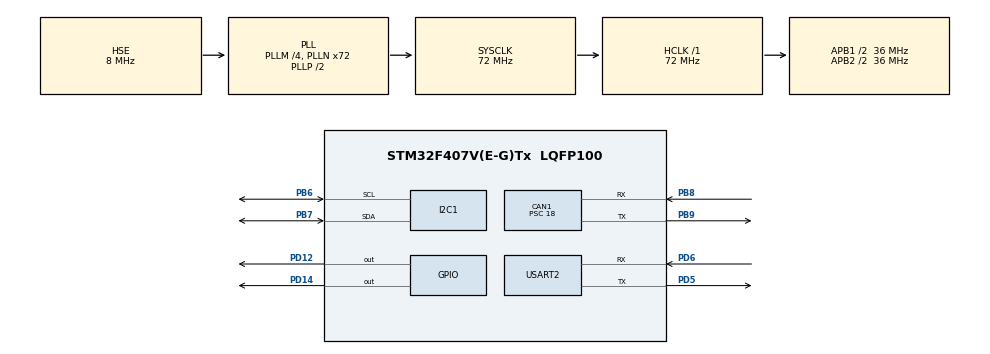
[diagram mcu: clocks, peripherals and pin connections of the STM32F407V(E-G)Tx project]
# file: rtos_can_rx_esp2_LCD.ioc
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CAN1.BS1=CAN_BS1_2TQ
CAN1.CalculateBaudRate=500000
CAN1.CalculateTimeBit=2000
CAN1.CalculateTimeQuantum=500.0
CAN1.Prescaler=18
FREERTOS.INCLUDE_vTaskDelayUntil=1
FREERTOS.Tasks01=defaultTask,-3,128,StartDefaultTask,Default,NULL,Dynamic,NULL,NULL
FREERTOS.configUSE_NEWLIB_REENTRANT=1
Mcu.Family=STM32F4
Mcu.Name=STM32F407V(E-G)Tx
Mcu.Package=LQFP100
NVIC.CAN1_RX0_IRQn=true\:5\:0\:false\:false\:true\:true\:true\:true\:true
NVIC.PriorityGroup=NVIC_PRIORITYGROUP_4
NVIC.TIM6_DAC_IRQn=true\:15\:0\:false\:false\:true\:false\:false\:true\:true
NVIC.TimeBase=TIM6_DAC_IRQn
NVIC.TimeBaseIP=TIM6
PB6.Mode=I2C
PB6.Signal=I2C1_SCL
PB7.Mode=I2C
PB7.Signal=I2C1_SDA
PB8.Mode=CAN_Activate
PB8.Signal=CAN1_RX
PB9.Mode=CAN_Activate
PB9.Signal=CAN1_TX
PD12.Signal=GPIO_Output
PD14.Signal=GPIO_Output
PD5.Mode=Asynchronous
PD5.Signal=USART2_TX
PD6.Mode=Asynchronous
PD6.Signal=USART2_RX
PH0-OSC_IN.Mode=HSE-External-Oscillator
PH0-OSC_IN.Signal=RCC_OSC_IN
PH1-OSC_OUT.Mode=HSE-External-Oscillator
PH1-OSC_OUT.Signal=RCC_OSC_OUT
ProjectManager.HeapSize=0x200
ProjectManager.StackSize=0x400
ProjectManager.TargetToolchain=STM32CubeIDE
RCC.48MHZClocksFreq_Value=20571428.57142857
RCC.AHBFreq_Value=72000000
RCC.APB1CLKDivider=RCC_HCLK_DIV2
RCC.APB1Freq_Value=36000000
RCC.APB1TimFreq_Value=72000000
RCC.APB2CLKDivider=RCC_HCLK_DIV2
RCC.APB2Freq_Value=36000000
RCC.APB2TimFreq_Value=72000000
RCC.CortexFreq_Value=72000000
RCC.HCLKFreq_Value=72000000
RCC.HSE_VALUE=8000000
RCC.HSI_VALUE=16000000
RCC.LSE_VALUE=32768
RCC.PLLM=4
RCC.PLLN=72
RCC.PLLQ=7
RCC.PLLSourceVirtual=RCC_PLLSOURCE_HSE
RCC.SYSCLKFreq_VALUE=72000000
RCC.SYSCLKSource=RCC_SYSCLKSOURCE_PLLCLK
RCC.VCOOutputFreq_Value=144000000
USART2.VirtualMode=VM_ASYNC
VP_FREERTOS_VS_CMSIS_V1.Mode=CMSIS_V1
VP_SYS_VS_tim6.Mode=TIM6
board=STM32F407G-DISC1

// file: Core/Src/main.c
/* USER CODE BEGIN Header */
/**
  ******************************************************************************
  * @file           : main.c
  * @brief          : Main program body
  ******************************************************************************
  * @attention
  *
  * Copyright (c) 2025 STMicroelectronics.
  * All rights reserved.
  *
  * This software is licensed under terms that can be found in the LICENSE file
  * in the root directory of this software component.
  * If no LICENSE file comes with this software, it is provided AS-IS.
  *
  ******************************************************************************
  */
/* USER CODE END Header */
#include "main.h"
#include "cmsis_os.h"

/* USER CODE BEGIN Includes */
#include "string.h"
#include "stdio.h"
#include "lcd.h"
#include <stdbool.h>
/* USER CODE END Includes */

CAN_HandleTypeDef hcan1;

I2C_HandleTypeDef hi2c1;

UART_HandleTypeDef huart2;

osThreadId defaultTaskHandle;
/* USER CODE BEGIN PV */

osThreadId CANRxTaskHandle;
osThreadId LCDTaskHandle1;
CAN_RxHeaderTypeDef RxHeader;
uint8_t RxData[8];
volatile uint8_t dataReady = 0;
volatile uint8_t dataReady_1 = 0 ;

uint16_t LDR_Value = 0;
uint16_t MQ5_Value = 0;
uint8_t Temp_Value = 0;
uint8_t Hum_Value = 0;

/* USER CODE END PV */

void SystemClock_Config(void);
static void MX_GPIO_Init(void);
static void MX_CAN1_Init(void);
static void MX_USART2_UART_Init(void);
static void MX_I2C1_Init(void);
void StartDefaultTask(void const * argument);

/* USER CODE BEGIN PFP */

void canRxTask(void const * argument);
void canRxTask1(void const * argument);

/* USER CODE END PFP */

/* USER CODE BEGIN 0 */
void HAL_CAN_RxFifo0MsgPendingCallback(CAN_HandleTypeDef *hcan)
{
  // Get received message
  if (HAL_CAN_GetRxMessage(hcan, CAN_RX_FIFO0, &RxHeader, RxData) == HAL_OK)
  {
    if (RxHeader.StdId == 0x0A9 && RxHeader.DLC >= 4)
    {
      // Extract 16-bit sensor values from data bytes
      LDR_Value  = (RxData[0] << 8) | RxData[1];
      MQ5_Value  = (RxData[2] << 8) | RxData[3];
      Temp_Value = (RxData[4] << 8) | RxData[5];
      Hum_Value  = (RxData[6] << 8) | RxData[7];
      dataReady  = 1;
    }
  }
}

/* USER CODE END 0 */

int main(void)
{

  /* MCU Configuration--------------------------------------------------------*/

  /* Reset of all peripherals, Initializes the Flash interface and the Systick. */
  HAL_Init();

  /* Configure the system clock */
  SystemClock_Config();

  /* Initialize all configured peripherals */
  MX_GPIO_Init();
  MX_CAN1_Init();
  MX_USART2_UART_Init();
  MX_I2C1_Init();
  /* USER CODE BEGIN 2 */

  HAL_CAN_Start(&hcan1);
  HAL_CAN_ActivateNotification(&hcan1, CAN_IT_RX_FIFO0_MSG_PENDING );
  LcdInit();

  /* USER CODE END 2 */

  /* Create the thread(s) */
  /* definition and creation of defaultTask */
  osThreadDef(defaultTask, StartDefaultTask, osPriorityIdle, 0, 128);
  defaultTaskHandle = osThreadCreate(osThread(defaultTask), NULL);

  /* USER CODE BEGIN RTOS_THREADS */
  /* add threads, ... */

  osThreadDef(CANRxTask, canRxTask, osPriorityIdle, 0, 128);
  CANRxTaskHandle = osThreadCreate(osThread(CANRxTask), NULL);

  osThreadDef(CANRxTask1, canRxTask1, osPriorityIdle, 0, 128);
  LCDTaskHandle1 = osThreadCreate(osThread(CANRxTask1), NULL);

  /* USER CODE END RTOS_THREADS */

  /* Start scheduler */
  osKernelStart();

  /* We should never get here as control is now taken by the scheduler */

  /* Infinite loop */
  while (1)
  {

  }
}

void SystemClock_Config(void)
{
  RCC_OscInitTypeDef RCC_OscInitStruct = {0};
  RCC_ClkInitTypeDef RCC_ClkInitStruct = {0};

  /** Configure the main internal regulator output voltage
  */
  __HAL_RCC_PWR_CLK_ENABLE();
  __HAL_PWR_VOLTAGESCALING_CONFIG(PWR_REGULATOR_VOLTAGE_SCALE1);

  /** Initializes the RCC Oscillators according to the specified parameters
  * in the RCC_OscInitTypeDef structure.
  */
  RCC_OscInitStruct.OscillatorType = RCC_OSCILLATORTYPE_HSE;
  RCC_OscInitStruct.HSEState = RCC_HSE_ON;
  RCC_OscInitStruct.PLL.PLLState = RCC_PLL_ON;
  RCC_OscInitStruct.PLL.PLLSource = RCC_PLLSOURCE_HSE;
  RCC_OscInitStruct.PLL.PLLM = 4;
  RCC_OscInitStruct.PLL.PLLN = 72;
  RCC_OscInitStruct.PLL.PLLP = RCC_PLLP_DIV2;
  RCC_OscInitStruct.PLL.PLLQ = 7;
  if (HAL_RCC_OscConfig(&RCC_OscInitStruct) != HAL_OK)
  {
    Error_Handler();
  }

  /** Initializes the CPU, AHB and APB buses clocks
  */
  RCC_ClkInitStruct.ClockType = RCC_CLOCKTYPE_HCLK|RCC_CLOCKTYPE_SYSCLK
                              |RCC_CLOCKTYPE_PCLK1|RCC_CLOCKTYPE_PCLK2;
  RCC_ClkInitStruct.SYSCLKSource = RCC_SYSCLKSOURCE_PLLCLK;
  RCC_ClkInitStruct.AHBCLKDivider = RCC_SYSCLK_DIV1;
  RCC_ClkInitStruct.APB1CLKDivider = RCC_HCLK_DIV2;
  RCC_ClkInitStruct.APB2CLKDivider = RCC_HCLK_DIV2;

  if (HAL_RCC_ClockConfig(&RCC_ClkInitStruct, FLASH_LATENCY_2) != HAL_OK)
  {
    Error_Handler();
  }
}

static void MX_CAN1_Init(void)
{

  hcan1.Instance = CAN1;
  hcan1.Init.Prescaler = 18;
  hcan1.Init.Mode = CAN_MODE_NORMAL;
  hcan1.Init.SyncJumpWidth = CAN_SJW_1TQ;
  hcan1.Init.TimeSeg1 = CAN_BS1_2TQ;
  hcan1.Init.TimeSeg2 = CAN_BS2_1TQ;
  hcan1.Init.TimeTriggeredMode = DISABLE;
  hcan1.Init.AutoBusOff = DISABLE;
  hcan1.Init.AutoWakeUp = DISABLE;
  hcan1.Init.AutoRetransmission = DISABLE;
  hcan1.Init.ReceiveFifoLocked = DISABLE;
  hcan1.Init.TransmitFifoPriority = DISABLE;
  if (HAL_CAN_Init(&hcan1) != HAL_OK)
  {
    Error_Handler();
  }
  /* USER CODE BEGIN CAN1_Init 2 */
  CAN_FilterTypeDef canFilterConfig;

    canFilterConfig.FilterActivation = ENABLE;
    canFilterConfig.FilterBank = 0;
    canFilterConfig.FilterFIFOAssignment = CAN_FILTER_FIFO0;
    canFilterConfig.FilterIdHigh = 0x0A9 << 5;  // Standard ID in top bits
    canFilterConfig.FilterIdLow = 0;
    canFilterConfig.FilterMaskIdHigh = 0x7FF << 5;  // Match only 0x0A9
    canFilterConfig.FilterMaskIdLow = 0;
    canFilterConfig.FilterMode = CAN_FILTERMODE_IDMASK;
    canFilterConfig.FilterScale = CAN_FILTERSCALE_32BIT;

    if (HAL_CAN_ConfigFilter(&hcan1, &canFilterConfig) != HAL_OK)
    {
      Error_Handler();
    }
  /* USER CODE END CAN1_Init 2 */

}

static void MX_I2C1_Init(void)
{

  hi2c1.Instance = I2C1;
  hi2c1.Init.ClockSpeed = 100000;
  hi2c1.Init.DutyCycle = I2C_DUTYCYCLE_2;
  hi2c1.Init.OwnAddress1 = 0;
  hi2c1.Init.AddressingMode = I2C_ADDRESSINGMODE_7BIT;
  hi2c1.Init.DualAddressMode = I2C_DUALADDRESS_DISABLE;
  hi2c1.Init.OwnAddress2 = 0;
  hi2c1.Init.GeneralCallMode = I2C_GENERALCALL_DISABLE;
  hi2c1.Init.NoStretchMode = I2C_NOSTRETCH_DISABLE;
  if (HAL_I2C_Init(&hi2c1) != HAL_OK)
  {
    Error_Handler();
  }

}

static void MX_USART2_UART_Init(void)
{

  huart2.Instance = USART2;
  huart2.Init.BaudRate = 115200;
  huart2.Init.WordLength = UART_WORDLENGTH_8B;
  huart2.Init.StopBits = UART_STOPBITS_1;
  huart2.Init.Parity = UART_PARITY_NONE;
  huart2.Init.Mode = UART_MODE_TX_RX;
  huart2.Init.HwFlowCtl = UART_HWCONTROL_NONE;
  huart2.Init.OverSampling = UART_OVERSAMPLING_16;
  if (HAL_UART_Init(&huart2) != HAL_OK)
  {
    Error_Handler();
  }

}

static void MX_GPIO_Init(void)
{
  GPIO_InitTypeDef GPIO_InitStruct = {0};

  /* GPIO Ports Clock Enable */
  __HAL_RCC_GPIOH_CLK_ENABLE();
  __HAL_RCC_GPIOD_CLK_ENABLE();
  __HAL_RCC_GPIOB_CLK_ENABLE();

  /*Configure GPIO pin Output Level */
  HAL_GPIO_WritePin(GPIOD, GPIO_PIN_12|GPIO_PIN_14, GPIO_PIN_RESET);

  /*Configure GPIO pins : PD12 PD14 */
  GPIO_InitStruct.Pin = GPIO_PIN_12|GPIO_PIN_14;
  GPIO_InitStruct.Mode = GPIO_MODE_OUTPUT_PP;
  GPIO_InitStruct.Pull = GPIO_NOPULL;
  GPIO_InitStruct.Speed = GPIO_SPEED_FREQ_LOW;
  HAL_GPIO_Init(GPIOD, &GPIO_InitStruct);

}

/* USER CODE BEGIN 4 */
void canRxTask(void const * argument)
{
  char uartMsg[150];
  for (;;)
  {
    if (dataReady)
    {
    	 sprintf(uartMsg,"{\"LDR_DATA\":%u,\"MQ5_DATA\":%u,\"TEMPERATURE\":%u,\"HUMIDITY\":%u,\"LOCATION\":\"Lab1\"}\n",LDR_Value, MQ5_Value, Temp_Value, Hum_Value);
    	 HAL_UART_Transmit(&huart2, (uint8_t*)uartMsg, strlen(uartMsg), HAL_MAX_DELAY);
    	 HAL_GPIO_TogglePin(GPIOD, GPIO_PIN_14);

      dataReady = 0;
      dataReady_1 = 1;
    }
    osDelay(10000);
  }
}
void canRxTask1(void const * argument)
{
    char line1[20];  // For Temperature & Humidity
    char line2[20];  // For Status/Alert

    for (;;)
    {
        HAL_GPIO_WritePin(GPIOD, GPIO_PIN_14, GPIO_PIN_RESET);
        if (dataReady_1)
        {
            sprintf(line1, "T:%uC H:%u%%", Temp_Value, Hum_Value);

            // Check LDR and MQ5 values
            bool darkness = (LDR_Value > 2000);
            bool gas      = (MQ5_Value > 1500);

            // Prepare Line 2 based on sensor readings
            if (darkness && gas)
                strcpy(line2, "ALERT: DARK+GAS");
            else if (!darkness && !gas)
                strcpy(line2, "Status: NORMAL ");
            else if (darkness && !gas)
                strcpy(line2, "ALERT: DARK    ");
            else if (!darkness && gas){
                strcpy(line2, "ALERT: GAS     ");
                HAL_GPIO_WritePin(GPIOD, GPIO_PIN_14, GPIO_PIN_SET);
            }

            // Clear LCD and update lines
            LcdWriteByte(LCD_CMD, LCD_CLEAR);
            HAL_Delay(2);  // Small delay after clear

            // Write to LCD
            LcdPuts(LCD_LINE1, line1);  // Display Temp & Hum
            LcdPuts(LCD_LINE2, line2);  // Display Alert/Status

            dataReady_1 = 0;  // Reset flag
        }

        osDelay(1000);  // Task runs every 1 second
    }
}

/* USER CODE END 4 */

void StartDefaultTask(void const * argument)
{
  for(;;)
  {
    osDelay(1);
  }
}

void HAL_TIM_PeriodElapsedCallback(TIM_HandleTypeDef *htim)
{
  if (htim->Instance == TIM6)
  {
    HAL_IncTick();
  }
}

void Error_Handler(void)
{
  __disable_irq();
  while (1)
  {
  }
}
